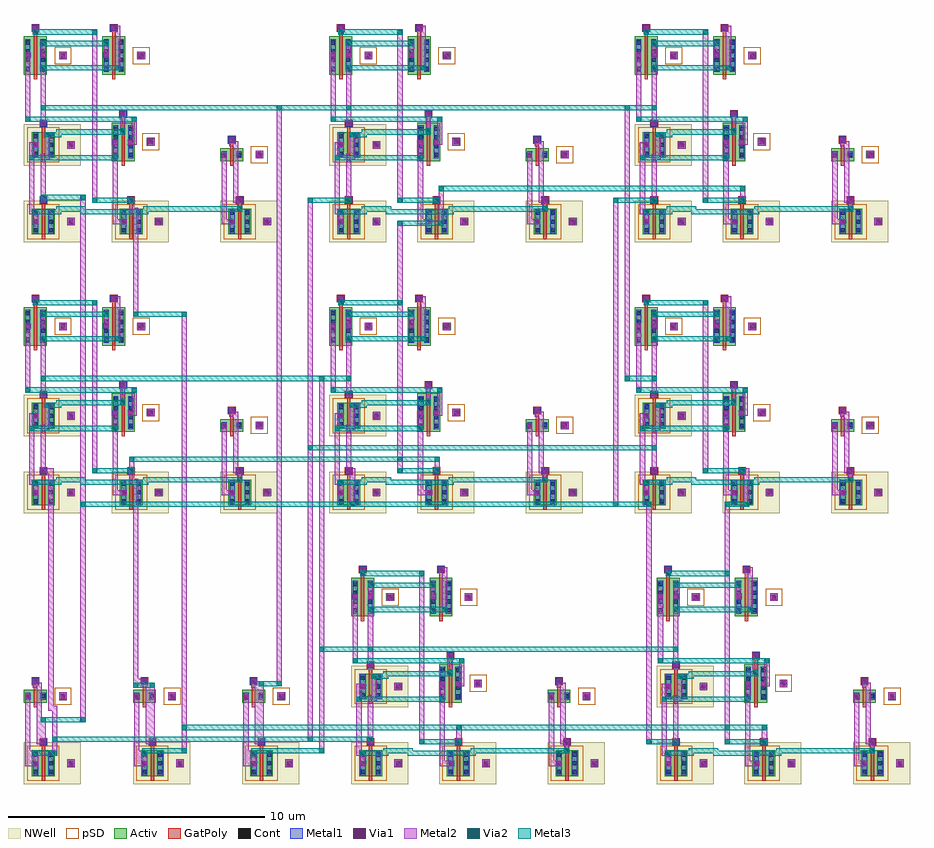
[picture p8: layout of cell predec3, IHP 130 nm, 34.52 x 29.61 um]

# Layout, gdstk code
import gdstk
lib = gdstk.Library(unit=1e-6, precision=1e-09)
def R(c, l, rs):  # rectangles x0, y0, x1, y1
    for r in rs: c.add(gdstk.rectangle(r[:2], r[2:], *l))
def A(c, l, x, y, w, h, nx, ny, dx, dy):  # array of equal rectangles
    R(c, l, [(x+i*dx, y+j*dy, x+i*dx+w, y+j*dy+h) for i in range(nx) for j in range(ny)])
Activ = (1, 0)
GatPoly = (5, 0)
Cont = (6, 0)
Metal1 = (8, 0)
Metal2 = (10, 0)
pSD = (14, 0)
Via1 = (19, 0)
Via2 = (29, 0)
Metal3 = (30, 0)
NWell = (31, 0)

sg13_lv_pmos_w1_l0p13 = lib.new_cell('sg13_lv_pmos_w1_l0p13')
R(sg13_lv_pmos_w1_l0p13, Activ, [(0,0,0.89,1), (1.37,0.35,1.67,0.65)])
R(sg13_lv_pmos_w1_l0p13, GatPoly, [(0.38,-0.18,0.51,1.2), (0.295,1.18,0.595,1.48)])
A(sg13_lv_pmos_w1_l0p13, Cont, 0.07, 0.08, 0.16, 0.16, 1, 3, 0, 0.34)
A(sg13_lv_pmos_w1_l0p13, Cont, 0.66, 0.08, 0.16, 0.16, 1, 3, 0, 0.34)
R(sg13_lv_pmos_w1_l0p13, Cont, [(1.44,0.42,1.6,0.58), (0.365,1.25,0.525,1.41)])
R(sg13_lv_pmos_w1_l0p13, Metal1, [(0.05,0.03,0.25,0.97), (0.64,0.03,0.84,0.97), (1.375,0.355,1.665,0.645), (0.315,1.2,0.575,1.46)])
R(sg13_lv_pmos_w1_l0p13, Metal2, [(1.375,0.355,1.665,0.645)])
R(sg13_lv_pmos_w1_l0p13, pSD, [(-0.18,-0.18,1.07,1.18)])
R(sg13_lv_pmos_w1_l0p13, Via1, [(1.425,0.405,1.615,0.595)])
R(sg13_lv_pmos_w1_l0p13, NWell, [(-0.31,-0.31,1.91,1.31)])

sg13_lv_nmos_w0p5_l0p13 = lib.new_cell('sg13_lv_nmos_w0p5_l0p13')
R(sg13_lv_nmos_w0p5_l0p13, Activ, [(0,0,0.89,0.5), (1.37,0.1,1.67,0.4)])
R(sg13_lv_nmos_w0p5_l0p13, GatPoly, [(0.38,-0.18,0.51,0.7), (0.295,0.68,0.595,0.98)])
R(sg13_lv_nmos_w0p5_l0p13, Cont, [(0.07,0.17,0.23,0.33), (0.66,0.17,0.82,0.33), (1.44,0.17,1.6,0.33), (0.365,0.75,0.525,0.91)])
R(sg13_lv_nmos_w0p5_l0p13, Metal1, [(1.375,0.105,1.665,0.395), (0.05,0.12,0.25,0.38), (0.64,0.12,0.84,0.38), (0.315,0.7,0.575,0.96)])
R(sg13_lv_nmos_w0p5_l0p13, Metal2, [(1.375,0.105,1.665,0.395)])
R(sg13_lv_nmos_w0p5_l0p13, pSD, [(1.19,-0.08,1.85,0.58)])
R(sg13_lv_nmos_w0p5_l0p13, Via1, [(1.425,0.155,1.615,0.345)])

inv = lib.new_cell('inv')
R(inv, Metal1, [(0.345,0.695,0.555,0.905), (0.645,1.545,0.855,1.755), (0.045,3.295,0.255,3.505), (0.345,3.895,0.555,4.105)])
R(inv, Metal2, [(0.05,0.7,0.25,3.5), (0.05,0.7,0.55,0.9), (0.35,0.7,0.55,0.9), (0.5,1.55,0.85,1.75), (0.5,1.55,0.7,3.95), (0.65,1.55,0.85,1.75), (0.05,3.3,0.25,3.5), (0.35,3.75,0.55,4.1), (0.35,3.75,0.7,3.95), (0.35,3.9,0.55,4.1)])
R(inv, Via1, [(0.355,0.705,0.545,0.895), (0.655,1.555,0.845,1.745), (0.055,3.305,0.245,3.495), (0.355,3.905,0.545,4.095)])
inv.add(gdstk.Reference(sg13_lv_pmos_w1_l0p13, (0.31,0.31)))
inv.add(gdstk.Reference(sg13_lv_nmos_w0p5_l0p13, (0,3.17)))
inv.add(gdstk.Label('Y', (0.46,0.81), layer=8, texttype=25))
inv.add(gdstk.Label('A', (0.755,1.64), layer=8, texttype=25))
inv.add(gdstk.Label('VDD', (1.05,0.81), layer=8, texttype=25))
inv.add(gdstk.Label('VDD', (1.83,0.81), layer=8, texttype=25))
inv.add(gdstk.Label('Y', (0.15,3.42), layer=8, texttype=25))
inv.add(gdstk.Label('A', (0.445,4), layer=8, texttype=25))
inv.add(gdstk.Label('VSS', (0.74,3.42), layer=8, texttype=25))
inv.add(gdstk.Label('VSS', (1.52,3.42), layer=8, texttype=25))

sg13_lv_nmos_w1p5_l0p13 = lib.new_cell('sg13_lv_nmos_w1p5_l0p13')
R(sg13_lv_nmos_w1p5_l0p13, Activ, [(0,0,0.89,1.5), (1.37,0.6,1.67,0.9)])
R(sg13_lv_nmos_w1p5_l0p13, GatPoly, [(0.38,-0.18,0.51,1.7), (0.295,1.68,0.595,1.98)])
A(sg13_lv_nmos_w1p5_l0p13, Cont, 0.07, 0.16, 0.16, 0.16, 1, 4, 0, 0.34)
A(sg13_lv_nmos_w1p5_l0p13, Cont, 0.66, 0.16, 0.16, 0.16, 1, 4, 0, 0.34)
R(sg13_lv_nmos_w1p5_l0p13, Cont, [(1.44,0.67,1.6,0.83), (0.365,1.75,0.525,1.91)])
R(sg13_lv_nmos_w1p5_l0p13, Metal1, [(0.05,0.11,0.25,1.39), (0.64,0.11,0.84,1.39), (1.375,0.605,1.665,0.895), (0.315,1.7,0.575,1.96)])
R(sg13_lv_nmos_w1p5_l0p13, Metal2, [(1.375,0.605,1.665,0.895)])
R(sg13_lv_nmos_w1p5_l0p13, pSD, [(1.19,0.42,1.85,1.08)])
R(sg13_lv_nmos_w1p5_l0p13, Via1, [(1.425,0.655,1.615,0.845)])

nand3 = lib.new_cell('nand3')
R(nand3, Metal1, [(0.345,0.695,0.555,0.905), (3.795,0.695,4.005,0.905), (0.645,1.545,0.855,1.755), (4.095,1.545,4.305,1.755), (0.345,3.695,0.555,3.905), (3.445,3.795,3.655,4.005), (4.045,3.795,4.255,4.005), (0.645,4.545,0.855,4.755), (3.745,4.895,3.955,5.105), (0.045,7.195,0.255,7.405), (0.645,7.195,0.855,7.405), (3.095,7.195,3.305,7.405), (0.345,8.245,0.555,8.455), (3.395,8.245,3.605,8.455)])
R(nand3, Metal2, [(0.35,0.7,0.55,0.9), (0.35,0.7,0.55,1.3), (3.45,0.7,3.65,3.4), (3.45,0.7,4,0.9), (3.8,0.7,4,0.9), (0.2,1.1,0.55,1.3), (0.2,1.1,0.4,3.9), (0.65,1.55,0.85,1.75), (0.65,1.55,0.85,3.45), (2.65,1.55,2.85,1.75), (2.65,1.55,2.85,8.3), (4.1,1.55,4.3,1.75), (4.1,1.55,4.3,1.75), (0.2,3.2,0.4,3.4), (3.45,3.2,3.65,3.4), (3.45,3.2,3.65,4), (0.65,3.25,1,3.45), (0.8,3.25,1,4.3), (0.2,3.7,0.55,3.9), (0.35,3.7,0.55,3.9), (3.45,3.8,3.65,4), (4.05,3.8,4.25,4), (4.05,3.8,4.4,4), (4.2,3.8,4.4,4.9), (0.8,4.1,1,4.3), (3.75,4.25,3.95,4.45), (3.75,4.25,3.95,5.1), (0.65,4.55,0.85,4.75), (0.65,4.55,0.85,6.9), (0.05,4.7,0.25,4.9), (0.05,4.7,0.25,7.4), (4.2,4.7,4.4,4.9), (3.75,4.9,3.95,5.1), (0.65,6.7,0.85,6.9), (3.55,6.7,3.75,6.9), (3.55,6.7,3.75,8.45), (0.05,7.2,0.25,7.4), (0.65,7.2,0.85,7.4), (0.65,7.2,0.85,7.85), (3.1,7.2,3.3,7.4), (3.1,7.2,3.3,7.85), (0.65,7.65,0.85,7.85), (3.1,7.65,3.3,7.85), (0.35,8.1,0.55,8.3), (0.35,8.1,0.55,8.45), (2.65,8.1,2.85,8.3), (0.35,8.25,0.55,8.45), (3.4,8.25,3.6,8.45), (3.4,8.25,3.75,8.45)])
R(nand3, Via1, [(0.355,0.705,0.545,0.895), (3.805,0.705,3.995,0.895), (0.655,1.555,0.845,1.745), (4.105,1.555,4.295,1.745), (0.355,3.705,0.545,3.895), (3.455,3.805,3.645,3.995), (4.055,3.805,4.245,3.995), (0.655,4.555,0.845,4.745), (3.755,4.905,3.945,5.095), (0.055,7.205,0.245,7.395), (0.655,7.205,0.845,7.395), (3.105,7.205,3.295,7.395), (0.355,8.255,0.545,8.445), (3.405,8.255,3.595,8.445)])
R(nand3, Via2, [(2.655,1.555,2.845,1.745), (4.105,1.555,4.295,1.745), (0.205,3.205,0.395,3.395), (3.455,3.205,3.645,3.395), (0.805,4.105,0.995,4.295), (3.755,4.255,3.945,4.445), (0.055,4.705,0.245,4.895), (4.205,4.705,4.395,4.895), (0.655,6.705,0.845,6.895), (3.555,6.705,3.745,6.895), (0.655,7.655,0.845,7.845), (3.105,7.655,3.295,7.845), (0.355,8.105,0.545,8.295), (2.655,8.105,2.845,8.295)])
R(nand3, Metal3, [(2.65,1.55,2.85,1.75), (2.65,1.55,4.3,1.75), (4.1,1.55,4.3,1.75), (0.2,3.2,0.4,3.4), (0.2,3.2,3.65,3.4), (3.45,3.2,3.65,3.4), (0.8,4.1,1,4.3), (0.8,4.1,1.45,4.3), (1.25,4.1,1.45,4.4), (1.25,4.2,3.95,4.4), (3.75,4.2,3.95,4.45), (3.75,4.25,3.95,4.45), (0.05,4.7,0.25,4.9), (0.05,4.7,4.4,4.9), (4.2,4.7,4.4,4.9), (0.65,6.7,0.85,6.9), (0.65,6.7,3.75,6.9), (3.55,6.7,3.75,6.9), (0.65,7.65,0.85,7.85), (0.65,7.65,3.3,7.85), (3.1,7.65,3.3,7.85), (0.35,8.1,0.55,8.3), (0.35,8.1,2.85,8.3), (2.65,8.1,2.85,8.3)])
nand3.add(gdstk.Reference(sg13_lv_pmos_w1_l0p13, (0.31,0.31)))
nand3.add(gdstk.Reference(sg13_lv_pmos_w1_l0p13, (3.73,0.31)))
nand3.add(gdstk.Reference(sg13_lv_pmos_w1_l0p13, (0.31,3.3)))
nand3.add(gdstk.Reference(sg13_lv_nmos_w1p5_l0p13, (3.42,3.17)))
nand3.add(gdstk.Reference(sg13_lv_nmos_w1p5_l0p13, (0,6.53)))
nand3.add(gdstk.Reference(sg13_lv_nmos_w1p5_l0p13, (3.05,6.53)))
nand3.add(gdstk.Label('Y', (0.46,0.81), layer=8, texttype=25))
nand3.add(gdstk.Label('A', (0.755,1.64), layer=8, texttype=25))
nand3.add(gdstk.Label('VDD', (1.05,0.81), layer=8, texttype=25))
nand3.add(gdstk.Label('VDD', (1.83,0.81), layer=8, texttype=25))
nand3.add(gdstk.Label('Y', (3.88,0.81), layer=8, texttype=25))
nand3.add(gdstk.Label('B', (4.175,1.64), layer=8, texttype=25))
nand3.add(gdstk.Label('VDD', (4.47,0.81), layer=8, texttype=25))
nand3.add(gdstk.Label('VDD', (5.25,0.81), layer=8, texttype=25))
nand3.add(gdstk.Label('Y', (0.46,3.8), layer=8, texttype=25))
nand3.add(gdstk.Label('C', (0.755,4.63), layer=8, texttype=25))
nand3.add(gdstk.Label('VDD', (1.05,3.8), layer=8, texttype=25))
nand3.add(gdstk.Label('VDD', (1.83,3.8), layer=8, texttype=25))
nand3.add(gdstk.Label('Y', (3.57,3.92), layer=8, texttype=25))
nand3.add(gdstk.Label('A', (3.865,5), layer=8, texttype=25))
nand3.add(gdstk.Label('N1', (4.16,3.92), layer=8, texttype=25))
nand3.add(gdstk.Label('VSS', (4.94,3.92), layer=8, texttype=25))
nand3.add(gdstk.Label('N1', (0.15,7.28), layer=8, texttype=25))
nand3.add(gdstk.Label('B', (0.445,8.36), layer=8, texttype=25))
nand3.add(gdstk.Label('N2', (0.74,7.28), layer=8, texttype=25))
nand3.add(gdstk.Label('VSS', (1.52,7.28), layer=8, texttype=25))
nand3.add(gdstk.Label('N2', (3.2,7.28), layer=8, texttype=25))
nand3.add(gdstk.Label('C', (3.495,8.36), layer=8, texttype=25))
nand3.add(gdstk.Label('VSS', (3.79,7.28), layer=8, texttype=25))
nand3.add(gdstk.Label('VSS', (4.57,7.28), layer=8, texttype=25))

predec3 = lib.new_cell('predec3')
A(predec3, Metal2, 0.35, 0.7, 0.2, 0.6, 4, 1, 4.25, 0)
A(predec3, Metal2, 0.25, 0.9, 0.1, 0.4, 3, 1, 4.25, 0)
A(predec3, Metal2, 4.6, 1.1, 0.2, 0.2, 3, 1, 4.25, 0)
A(predec3, Metal2, 0.35, 11.25, 0.2, 0.6, 3, 2, 11.9, 10.55)
A(predec3, Metal2, 0.35, 11.65, 0.2, 0.2, 3, 2, 11.9, 10.55)
A(predec3, Metal2, 8.3, 11.75, 0.2, 0.2, 3, 2, 11.9, 10.55)
A(predec3, Metal2, 8.3, 11.75, 0.2, 0.55, 3, 2, 11.9, 10.55)
A(predec3, Metal2, 0.65, 15.1, 0.2, 0.8, 3, 2, 11.9, 10.55)
R(predec3, Metal2, [(25,0.7,25.2,1.3), (0.35,1.1,0.55,1.3), (1.1,1.1,1.3,1.3), (1.1,1.1,1.3,3.05), (25,1.1,25.2,1.3), (6.15,1.2,6.35,18.4), (6.15,1.2,6.35,1.4), (11.5,1.2,11.7,1.4), (11.5,1.2,11.7,5.35), (21.05,1.2,21.25,1.4), (21.05,1.2,21.25,1.75), (32.95,1.2,33.15,1.4), (32.95,1.2,33.15,1.75), (0.65,1.55,0.85,2.6), (4.9,1.55,5.1,3.95), (9.15,1.55,9.35,4), (13.4,1.55,13.6,1.85), (16.85,1.55,17.05,2.3), (24.25,1.55,24.45,1.75), (24.25,1.55,24.45,11), (25.3,1.55,25.5,1.75), (28.75,1.55,28.95,2.3), (1.1,1.65,1.3,1.85), (11.05,1.65,11.25,22.85), (11.05,1.65,11.25,1.85), (13.4,1.65,13.6,1.85), (6.15,2.1,6.35,2.3), (16.85,2.1,17.05,2.3), (27.3,2.1,27.5,2.3), (27.3,2.1,27.5,11), (28.75,2.1,28.95,2.3), (0.65,2.4,0.85,2.6), (2.2,2.4,2.4,22.95), (2.2,2.4,2.4,2.6), (0.95,2.85,1.3,3.05), (0.95,2.85,1.15,12.3), (4.25,3.75,4.45,3.95), (4.25,3.75,4.45,11.9), (4.45,3.75,4.6,4.1), (4.9,3.75,5.1,3.95), (9.15,3.8,9.35,4), (9.85,3.8,10.05,26.45), (9.85,3.8,10.05,4), (9.05,3.95,9.15,4), (13.4,4.55,13.6,5.35), (25.3,4.55,25.5,5.35), (11.5,5.15,11.7,15.9), (11.5,5.15,11.7,5.35), (13.4,5.15,13.6,5.35), (25.3,5.15,25.5,5.35), (2.2,10.8,2.4,11), (12.7,10.8,12.9,11), (12.7,10.8,12.9,12.3), (22.95,10.8,23.15,22.85), (22.95,10.8,23.15,11), (24.25,10.8,24.45,11), (27.3,10.8,27.5,11), (28.05,10.8,28.25,11), (28.05,10.8,28.25,12.3), (4.1,11.7,4.3,12.3), (4.1,11.7,4.45,11.9), (0.65,12.1,1.15,12.3), (4.1,12.1,4.3,12.75), (12.55,12.1,12.9,12.3), (16,12.1,16.2,12.75), (24.45,12.1,24.65,13.2), (27.9,12.1,28.25,12.3), (4.1,12.55,4.3,12.75), (14.55,12.55,14.75,21.95), (14.55,12.55,14.75,12.75), (16,12.55,16.2,12.75), (11.05,13,11.25,13.2), (24.45,13,24.65,13.2), (0.65,15.7,0.85,15.9), (11.5,15.7,11.7,15.9), (12.55,15.7,12.75,15.9), (23.4,15.7,23.6,26.45), (23.4,15.7,23.6,15.9), (24.45,15.7,24.65,15.9), (4.25,18.2,4.45,18.4), (4.25,18.2,4.45,22.45), (6.15,18.2,6.35,18.4), (14.55,21.75,14.75,21.95), (16.15,21.75,16.35,21.95), (16.15,21.75,16.35,22.85), (4.1,22.25,4.3,22.85), (4.1,22.25,4.45,22.45), (0.65,22.65,0.85,22.95), (11.05,22.65,11.25,22.85), (12.55,22.65,12.75,22.85), (16,22.65,16.35,22.85), (16.15,22.65,16.35,23.3), (22.95,22.65,23.15,22.85), (24.45,22.65,24.65,22.85), (27.9,22.65,28.1,23.3), (0.65,22.75,0.85,22.95), (2.2,22.75,2.4,22.95), (16.15,23.1,16.35,23.3), (27.9,23.1,28.1,23.3), (0.65,26.25,0.85,26.45), (9.85,26.25,10.05,26.45), (12.55,26.25,12.75,26.45), (23.4,26.25,23.6,26.45), (24.45,26.25,24.65,26.45)])
A(predec3, Via2, 4.605, 1.105, 0.19, 0.19, 3, 1, 4.25, 0)
A(predec3, Via2, 0.355, 11.655, 0.19, 0.19, 3, 2, 11.9, 10.55)
A(predec3, Via2, 8.305, 11.755, 0.19, 0.19, 3, 2, 11.9, 10.55)
R(predec3, Via2, [(0.355,1.105,0.545,1.295), (1.105,1.105,1.295,1.295), (25.005,1.105,25.195,1.295), (6.155,1.205,6.345,1.395), (11.505,1.205,11.695,1.395), (21.055,1.205,21.245,1.395), (32.955,1.205,33.145,1.395), (24.255,1.555,24.445,1.745), (25.305,1.555,25.495,1.745), (1.105,1.655,1.295,1.845), (11.055,1.655,11.245,1.845), (13.405,1.655,13.595,1.845), (6.155,2.105,6.345,2.295), (16.855,2.105,17.045,2.295), (27.305,2.105,27.495,2.295), (28.755,2.105,28.945,2.295), (0.655,2.405,0.845,2.595), (2.205,2.405,2.395,2.595), (4.255,3.755,4.445,3.945), (4.905,3.755,5.095,3.945), (9.155,3.805,9.345,3.995), (9.855,3.805,10.045,3.995), (11.505,5.155,11.695,5.345), (13.405,5.155,13.595,5.345), (25.305,5.155,25.495,5.345), (2.205,10.805,2.395,10.995), (12.705,10.805,12.895,10.995), (22.955,10.805,23.145,10.995), (24.255,10.805,24.445,10.995), (27.305,10.805,27.495,10.995), (28.055,10.805,28.245,10.995), (4.105,12.555,4.295,12.745), (14.555,12.555,14.745,12.745), (16.005,12.555,16.195,12.745), (11.055,13.005,11.245,13.195), (24.455,13.005,24.645,13.195), (0.655,15.705,0.845,15.895), (11.505,15.705,11.695,15.895), (12.555,15.705,12.745,15.895), (23.405,15.705,23.595,15.895), (24.455,15.705,24.645,15.895), (4.255,18.205,4.445,18.395), (6.155,18.205,6.345,18.395), (14.555,21.755,14.745,21.945), (16.155,21.755,16.345,21.945), (11.055,22.655,11.245,22.845), (12.555,22.655,12.745,22.845), (22.955,22.655,23.145,22.845), (24.455,22.655,24.645,22.845), (0.655,22.755,0.845,22.945), (2.205,22.755,2.395,22.945), (16.155,23.105,16.345,23.295), (27.905,23.105,28.095,23.295), (0.655,26.255,0.845,26.445), (9.855,26.255,10.045,26.445), (12.555,26.255,12.745,26.445), (23.405,26.255,23.595,26.445), (24.455,26.255,24.645,26.445)])
A(predec3, Metal3, 4.6, 1.1, 0.2, 0.2, 3, 1, 4.25, 0)
A(predec3, Metal3, 0.35, 11.65, 0.2, 0.2, 3, 2, 11.9, 10.55)
A(predec3, Metal3, 0.35, 11.65, 1.1, 0.2, 3, 2, 11.9, 10.55)
A(predec3, Metal3, 2.2, 11.65, 2.65, 0.2, 3, 2, 11.9, 10.55)
A(predec3, Metal3, 1.25, 11.75, 1.15, 0.2, 3, 2, 11.9, 10.55)
A(predec3, Metal3, 4.65, 11.75, 3.85, 0.2, 3, 2, 11.9, 10.55)
A(predec3, Metal3, 8.3, 11.75, 0.2, 0.2, 3, 2, 11.9, 10.55)
R(predec3, Metal3, [(0.35,1.1,0.55,1.3), (0.35,1.1,1.3,1.3), (1.1,1.1,1.3,1.3), (4.6,1.1,4.8,1.4), (8.85,1.1,9.05,1.4), (13.1,1.1,14.2,1.3), (14,1.1,14.2,1.4), (14.95,1.1,17.6,1.3), (14.95,1.1,15.15,1.4), (17.4,1.1,17.6,1.4), (25,1.1,25.2,1.3), (25,1.1,26.1,1.3), (25.9,1.1,26.1,1.4), (26.85,1.1,29.5,1.3), (26.85,1.1,27.05,1.4), (29.3,1.1,29.5,1.4), (4.6,1.2,6.35,1.4), (6.15,1.2,6.35,1.4), (8.85,1.2,11.7,1.4), (11.5,1.2,11.7,1.4), (14,1.2,15.15,1.4), (17.4,1.2,21.25,1.4), (21.05,1.2,21.25,1.4), (25.9,1.2,27.05,1.4), (29.3,1.2,33.15,1.4), (32.95,1.2,33.15,1.4), (24.25,1.55,24.45,1.75), (24.25,1.55,25.5,1.75), (25.3,1.55,25.5,1.75), (1.1,1.65,1.3,1.85), (1.1,1.65,13.6,1.85), (11.05,1.65,11.25,1.85), (13.4,1.65,13.6,1.85), (6.15,2.1,17.05,2.3), (6.15,2.1,6.35,2.3), (16.85,2.1,28.95,2.3), (16.85,2.1,17.05,2.3), (27.3,2.1,27.5,2.3), (28.75,2.1,28.95,2.3), (0.65,2.4,0.85,2.6), (0.65,2.4,2.4,2.6), (2.2,2.4,2.4,2.6), (4.25,3.75,4.45,3.95), (4.25,3.75,5.1,3.95), (4.9,3.75,5.1,3.95), (9.15,3.8,9.35,4), (9.15,3.8,10.05,4), (9.85,3.8,10.05,4), (11.5,5.15,11.7,5.35), (11.5,5.15,13.6,5.35), (13.4,5.15,25.5,5.35), (13.4,5.15,13.6,5.35), (25.3,5.15,25.5,5.35), (2.2,10.8,2.4,11), (2.2,10.8,12.9,11), (12.7,10.8,24.45,11), (12.7,10.8,12.9,11), (22.95,10.8,23.15,11), (24.25,10.8,24.45,11), (27.3,10.8,27.5,11), (27.3,10.8,28.25,11), (28.05,10.8,28.25,11), (1.25,11.65,1.45,11.95), (2.2,11.65,2.4,11.95), (4.65,11.65,4.85,11.95), (13.15,11.65,13.35,11.95), (14.1,11.65,14.3,11.95), (16.55,11.65,16.75,11.95), (25.05,11.65,25.25,11.95), (26,11.65,26.2,11.95), (28.45,11.65,28.65,11.95), (4.1,12.55,16.2,12.75), (4.1,12.55,4.3,12.75), (14.55,12.55,14.75,12.75), (16,12.55,16.2,12.75), (11.05,13,24.65,13.2), (11.05,13,11.25,13.2), (24.45,13,24.65,13.2), (0.65,15.7,12.75,15.9), (0.65,15.7,0.85,15.9), (11.5,15.7,11.7,15.9), (12.55,15.7,12.75,15.9), (23.4,15.7,23.6,15.9), (23.4,15.7,24.65,15.9), (24.45,15.7,24.65,15.9), (4.25,18.2,4.45,18.4), (4.25,18.2,6.35,18.4), (6.15,18.2,6.35,18.4), (14.55,21.75,14.75,21.95), (14.55,21.75,16.35,21.95), (16.15,21.75,16.35,21.95), (1.25,22.2,1.45,22.5), (2.2,22.2,2.4,22.5), (4.65,22.2,4.85,22.5), (13.15,22.2,13.35,22.5), (14.1,22.2,14.3,22.5), (16.55,22.2,16.75,22.5), (25.05,22.2,25.25,22.5), (26,22.2,26.2,22.5), (28.45,22.2,28.65,22.5), (11.05,22.65,12.75,22.85), (11.05,22.65,11.25,22.85), (12.55,22.65,12.75,22.85), (22.95,22.65,24.65,22.85), (22.95,22.65,23.15,22.85), (24.45,22.65,24.65,22.85), (0.65,22.75,0.85,22.95), (0.65,22.75,2.4,22.95), (2.2,22.75,2.4,22.95), (16.15,23.1,28.1,23.3), (16.15,23.1,16.35,23.3), (27.9,23.1,28.1,23.3), (0.65,26.25,12.75,26.45), (0.65,26.25,0.85,26.45), (9.85,26.25,10.05,26.45), (12.55,26.25,24.65,26.45), (12.55,26.25,12.75,26.45), (23.4,26.25,23.6,26.45), (24.45,26.25,24.65,26.45)])
predec3.add(gdstk.Reference(inv, (0,0)))
predec3.add(gdstk.Reference(inv, (4.25,0)))
predec3.add(gdstk.Reference(inv, (8.5,0)))
predec3.add(gdstk.Reference(nand3, (12.75,0)))
predec3.add(gdstk.Reference(inv, (20.4,0)))
predec3.add(gdstk.Reference(nand3, (24.65,0)))
predec3.add(gdstk.Reference(inv, (32.3,0)))
predec3.add(gdstk.Reference(nand3, (0,10.55)))
predec3.add(gdstk.Reference(inv, (7.65,10.55)))
predec3.add(gdstk.Reference(nand3, (11.9,10.55)))
predec3.add(gdstk.Reference(inv, (19.55,10.55)))
predec3.add(gdstk.Reference(nand3, (23.8,10.55)))
predec3.add(gdstk.Reference(inv, (31.45,10.55)))
predec3.add(gdstk.Reference(nand3, (0,21.1)))
predec3.add(gdstk.Reference(inv, (7.65,21.1)))
predec3.add(gdstk.Reference(nand3, (11.9,21.1)))
predec3.add(gdstk.Reference(inv, (19.55,21.1)))
predec3.add(gdstk.Reference(nand3, (23.8,21.1)))
predec3.add(gdstk.Reference(inv, (31.45,21.1)))

lib.write_gds('predec3.gds')
